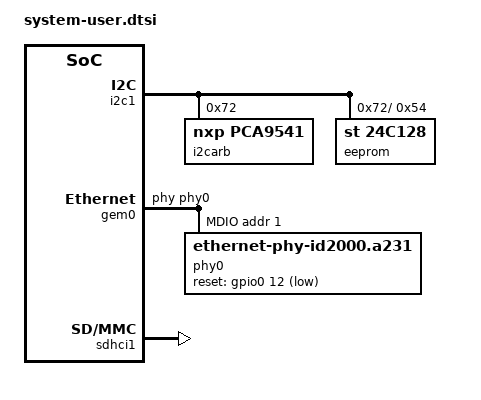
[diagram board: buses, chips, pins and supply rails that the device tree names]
/ {
	chosen {
		bootargs = " earlycon console=ttyAMA0,115200 clk_ignore_unused root=/dev/ram0 rw net.ifnames=0 biosdevname=0 cma=1536M";
		stdout-path = "serial0:115200n8";
		xlnx,eeprom = &eeprom;
	};

	aliases {
		nvmem0 = &eeprom;
	};

	reserved-memory {
		#address-cells = <2>;
		#size-cells = <2>;
		ranges;

		cma_reserved: cma@0 {
			compatible = "shared-dma-pool";
			reusable;
			reg = <0x0 0x80000000 0x0 0x60000000>; /* 1.5 GB reserved at 2GB boundary */
			alignment = <0 0x1000>;
			no-map;
		};
	};
};
&i2c1 { /* PMC_MIO44/45 */
	/* From versal-vrk160-revA.dts of u-boot-xlnx: the board EEPROM sits behind the PCA9541 arbitrator shared with the SC */
	i2carb: i2c-arbitrator@72 { /* u18 */
		compatible = "nxp,pca9541";
		reg = <0x72>;

		i2carb1: i2c-arb {
			#address-cells = <1>;
			#size-cells = <0>;

			/* Use for storing information about board */
			eeprom: eeprom@54 { /* u21 - m24128 16kB */
				#address-cells = <1>;
				#size-cells = <1>;
				compatible = "st,24c128", "atmel,24c128";
				reg = <0x54>; /* & 0x5c */
				/* Versal MAC of the FRU 0xD2 record, at the XilinxVek280 offset; to be confirmed at bring-up */
				mac_address: mac-address@A8 {
					reg = <0xA8 6>;
				};
			};
		};
	};
};
&gem0 { /* PMC_MIO_48, LPD_MIO0-11/24/25 */
	nvmem-cells = <&mac_address>;
	nvmem-cell-names = "mac-address";
	/* From versal-vrk165-revA.dts of u-boot-xlnx; delays as numbers (0xb = 3.00 ns, 0xa = 2.75 ns) */
	phy-handle = <&phy0>;
	mdio {
		#address-cells = <1>;
		#size-cells = <0>;
		phy0: ethernet-phy@1 {
			#phy-cells = <1>;
			compatible = "ethernet-phy-id2000.a231";
			reg = <1>;
			ti,rx-internal-delay = <0xb>;
			ti,tx-internal-delay = <0xa>;
			ti,fifo-depth = <1>;
			ti,dp83867-rxctrl-strap-quirk;
			reset-assert-us = <100>;
			reset-deassert-us = <280>;
			reset-gpios = <&gpio0 12 1>; /* GPIO_ACTIVE_LOW */
		};
	};
};
&sdhci1 { /* PMC_MIO26-36/51 */
	status = "okay";
	no-1-8-v;
	disable-wp;
};
/ {
	axi_stream_dma_0@80000000 {
		compatible = "axi_stream_dma";
		reg = <0x0 0x80000000 0x0 0x10000>;
		interrupts = <0 84 4>;
		interrupt-parent = <&gic>;
	};
};
